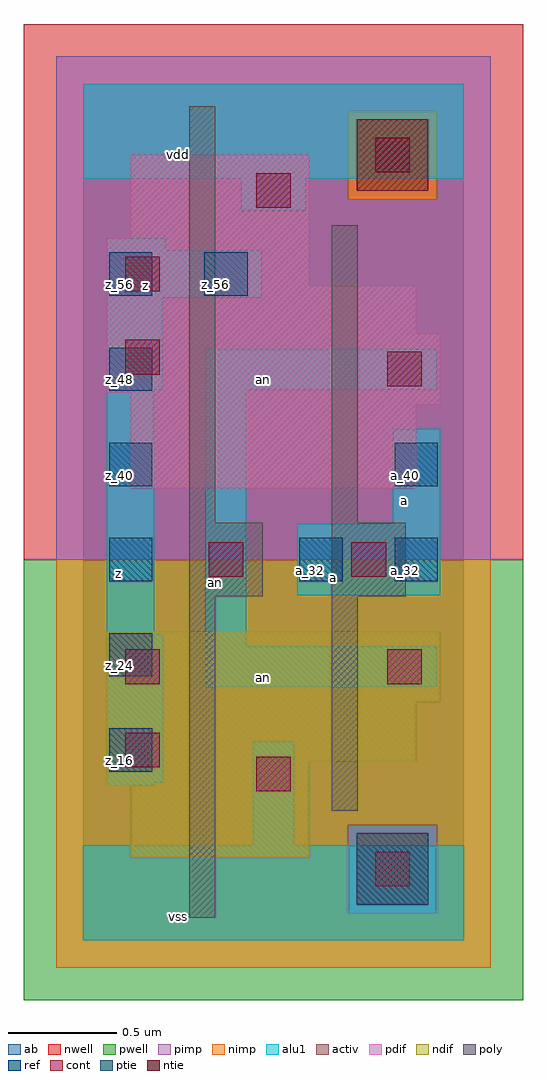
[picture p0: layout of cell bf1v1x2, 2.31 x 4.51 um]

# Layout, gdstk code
import gdstk
lib = gdstk.Library(unit=1e-6, precision=2.5e-09)
def R(c, l, rs):  # rectangles x0, y0, x1, y1
    for r in rs: c.add(gdstk.rectangle(r[:2], r[2:], *l))
def A(c, l, x, y, w, h, nx, ny, dx, dy):  # array of equal rectangles
    R(c, l, [(x+i*dx, y+j*dy, x+i*dx+w, y+j*dy+h) for i in range(nx) for j in range(ny)])
ndif = (3, 0)
pdif = (4, 0)
ntie = (5, 0)
ptie = (6, 0)
ref = (24, 0)
cont = (25, 0)
pwell = (41, 0)
nwell = (42, 0)
activ = (43, 0)
pimp = (44, 0)
nimp = (45, 0)
poly = (46, 0)
alu1 = (49, 0)
ab = (63, 0)

bf1v1x2 = lib.new_cell('bf1v1x2')
R(bf1v1x2, ndif, [(0.22,0.385,1.045,0.715), (0.11,0.715,1.045,0.825), (0.11,0.825,1.54,1.1), (0.11,1.1,1.65,1.43)])
R(bf1v1x2, pdif, [(0.22,2.09,1.54,2.475), (0.22,2.475,1.65,2.53), (0.11,2.53,1.65,2.805), (0.11,2.805,1.54,3.025), (0.11,3.025,1.045,3.245), (0.22,3.245,1.045,3.63)])
R(bf1v1x2, ntie, [(1.265,3.465,1.595,3.795)])
R(bf1v1x2, ptie, [(1.265,0.165,1.595,0.495)])
A(bf1v1x2, ref, 0.12, 0.78, 0.2, 0.2, 1, 6, 0, 0.44)
R(bf1v1x2, ref, [(1,1.66,1.2,1.86), (1.44,1.66,1.64,1.86), (1.44,2.1,1.64,2.3), (0.56,2.98,0.76,3.18)])
R(bf1v1x2, cont, [(1.35,0.25,1.51,0.41), (0.8,0.69,0.96,0.85), (0.195,0.8,0.355,0.96), (0.195,1.185,0.355,1.345), (1.405,1.185,1.565,1.345), (0.58,1.68,0.74,1.84), (1.24,1.68,1.4,1.84), (1.405,2.56,1.565,2.72), (0.195,2.615,0.355,2.775), (0.195,3,0.355,3.16), (0.8,3.385,0.96,3.545), (1.35,3.55,1.51,3.71)])
R(bf1v1x2, pwell, [(-0.275,-0.275,2.035,1.76)])
R(bf1v1x2, nwell, [(-0.275,1.76,2.035,4.235)])
R(bf1v1x2, activ, [(1.265,0.165,1.595,0.495), (0.22,0.385,1.045,0.715), (0.11,0.715,1.045,0.825), (0.11,0.825,1.54,1.1), (0.11,1.1,1.65,1.43), (0.22,2.09,1.54,2.475), (0.22,2.475,1.65,2.53), (0.11,2.53,1.65,2.805), (0.11,2.805,1.54,3.025), (0.11,3.025,1.045,3.245), (0.22,3.245,1.045,3.63), (1.265,3.465,1.595,3.795)])
R(bf1v1x2, pimp, [(1.225,0.125,1.635,0.535), (-0.125,1.76,1.885,3.425), (-0.125,3.425,1.225,3.835), (1.635,3.425,1.885,3.835), (-0.125,3.835,1.885,4.085)])
R(bf1v1x2, nimp, [(-0.125,-0.125,1.885,0.125), (-0.125,0.125,1.225,0.535), (1.635,0.125,1.885,0.535), (-0.125,0.535,1.885,1.76), (1.225,3.425,1.635,3.835)])
R(bf1v1x2, poly, [(0.49,0.105,0.61,1.59), (1.15,0.6,1.27,1.59), (0.49,1.59,0.83,1.93), (1.15,1.59,1.49,1.93), (0.49,1.93,0.61,3.855), (1.15,1.93,1.27,3.305)])
R(bf1v1x2, alu1, [(0,0,1.76,0.44), (0.785,0.44,0.975,0.92), (0.11,0.715,0.33,0.73), (0.11,0.73,0.37,1.415), (0.565,1.17,1.635,1.36), (0.565,1.36,0.755,2.545), (0.11,1.415,0.33,2.545), (0.99,1.595,1.65,1.925), (1.43,1.925,1.65,2.365), (0.11,2.545,0.37,2.97), (0.565,2.545,1.635,2.735), (0.11,2.97,0.825,3.19), (0.11,3.19,0.385,3.245), (0.73,3.37,1.03,3.52), (0,3.52,1.76,3.96)])
R(bf1v1x2, ab, [(0,0,1.76,3.96)])
bf1v1x2.add(gdstk.Label('vss', (0.44,0.11), layer=49, texttype=0))
bf1v1x2.add(gdstk.Label('an', (0.8325,1.2175), layer=49, texttype=0))
bf1v1x2.add(gdstk.Label('a', (1.155,1.6775), layer=49, texttype=0))
bf1v1x2.add(gdstk.Label('a', (1.485,2.035), layer=49, texttype=0))
bf1v1x2.add(gdstk.Label('an', (0.6125,1.655), layer=49, texttype=0))
bf1v1x2.add(gdstk.Label('z', (0.165,1.6975), layer=49, texttype=0))
bf1v1x2.add(gdstk.Label('an', (0.8325,2.5925), layer=49, texttype=0))
bf1v1x2.add(gdstk.Label('z', (0.2875,3.025), layer=49, texttype=0))
bf1v1x2.add(gdstk.Label('vdd', (0.44,3.63), layer=49, texttype=0))
bf1v1x2.add(gdstk.Label('z_56', (0.61,3.03), layer=24, texttype=0))
bf1v1x2.add(gdstk.Label('a_32', (1.05,1.71), layer=24, texttype=0))
bf1v1x2.add(gdstk.Label('a_32', (1.49,1.71), layer=24, texttype=0))
bf1v1x2.add(gdstk.Label('a_40', (1.49,2.15), layer=24, texttype=0))
bf1v1x2.add(gdstk.Label('z_16', (0.17,0.83), layer=24, texttype=0))
bf1v1x2.add(gdstk.Label('z_24', (0.17,1.27), layer=24, texttype=0))
bf1v1x2.add(gdstk.Label('z_32', (0.17,1.71), layer=24, texttype=0))
bf1v1x2.add(gdstk.Label('z_40', (0.17,2.15), layer=24, texttype=0))
bf1v1x2.add(gdstk.Label('z_48', (0.17,2.59), layer=24, texttype=0))
bf1v1x2.add(gdstk.Label('z_56', (0.17,3.03), layer=24, texttype=0))

lib.write_gds('bf1v1x2.gds')
